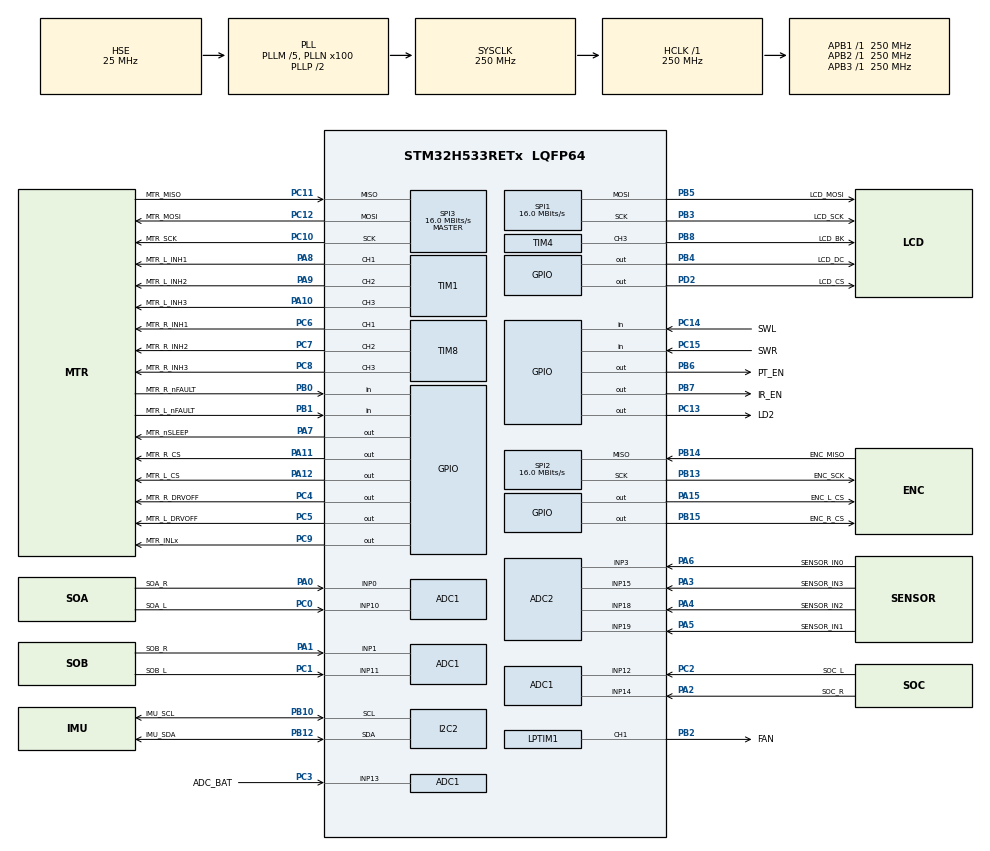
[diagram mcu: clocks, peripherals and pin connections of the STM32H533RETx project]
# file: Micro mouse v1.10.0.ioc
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ADC1.Channel-7\#ChannelRegularConversion=ADC_CHANNEL_0
ADC1.MonitoredBy-7\#ChannelRegularConversion=__NULL
ADC1.NbrOfConversionFlag=1
ADC1.OffsetNumber-7\#ChannelRegularConversion=ADC_OFFSET_NONE
ADC1.Rank-7\#ChannelRegularConversion=1
ADC1.SamplingTime-7\#ChannelRegularConversion=ADC_SAMPLETIME_2CYCLES_5
ADC1.master=1
ADC2.Channel-4\#ChannelRegularConversion=ADC_CHANNEL_3
ADC2.MonitoredBy-4\#ChannelRegularConversion=__NULL
ADC2.NbrOfConversionFlag=1
ADC2.OffsetNumber-4\#ChannelRegularConversion=ADC_OFFSET_NONE
ADC2.Rank-4\#ChannelRegularConversion=1
ADC2.SamplingTime-4\#ChannelRegularConversion=ADC_SAMPLETIME_2CYCLES_5
BOOTPATH.BootPathName=LEGACY
BOOTPATH.UserSelectedBootPath=LEGACY
CORTEX_M33_NS.userName=CORTEX_M33
Mcu.Family=STM32H5
Mcu.Name=STM32H533RETx
Mcu.Package=LQFP64
NVIC.PriorityGroup=NVIC_PRIORITYGROUP_4
NVIC.TIM15_IRQn=true\:0\:0\:false\:false\:true\:true\:true\:true
PA0.GPIO_Label=SOA_R
PA0.Signal=ADCx_INP0
PA1.GPIO_Label=SOB_R
PA1.Signal=ADCx_INP1
PA10.GPIO_Label=MTR_L_INH3
PA10.Signal=S_TIM1_CH3
PA11.GPIO_Label=MTR_R_CS
PA11.Signal=GPIO_Output
PA12.GPIO_Label=MTR_L_CS
PA12.Signal=GPIO_Output
PA13(JTMS/SWDIO).Mode=Serial_Wire
PA13(JTMS/SWDIO).Signal=DEBUG_JTMS-SWDIO
PA14(JTCK/SWCLK).Mode=Serial_Wire
PA14(JTCK/SWCLK).Signal=DEBUG_JTCK-SWCLK
PA15(JTDI).GPIO_Label=ENC_L_CS
PA15(JTDI).Signal=GPIO_Output
PA2.GPIO_Label=SOC_R
PA2.Signal=ADCx_INP14
PA3.GPIO_Label=SENSOR_IN3
PA3.Signal=ADCx_INP15
PA4.GPIO_Label=SENSOR_IN2
PA4.Signal=ADCx_INP18
PA5.GPIO_Label=SENSOR_IN1
PA5.Signal=ADCx_INP19
PA6.GPIO_Label=SENSOR_IN0
PA6.Signal=ADCx_INP3
PA7.GPIO_Label=MTR_nSLEEP
PA7.Signal=GPIO_Output
PA8.GPIO_Label=MTR_L_INH1
PA8.Signal=S_TIM1_CH1
PA9.GPIO_Label=MTR_L_INH2
PA9.Signal=S_TIM1_CH2
PB0.GPIO_Label=MTR_R_nFAULT
PB0.Signal=GPIO_Input
PB1.GPIO_Label=MTR_L_nFAULT
PB1.Signal=GPIO_Input
PB10.GPIO_Label=IMU_SCL
PB10.GPIO_Speed=GPIO_SPEED_FREQ_VERY_HIGH
PB10.Mode=I2C
PB10.Signal=I2C2_SCL
PB12.GPIO_Label=IMU_SDA
PB12.GPIO_Speed=GPIO_SPEED_FREQ_VERY_HIGH
PB12.Mode=I2C
PB12.Signal=I2C2_SDA
PB13.GPIO_Label=ENC_SCK
PB13.Mode=RX_Only_Simplex_Unidirect_Master
PB13.Signal=SPI2_SCK
PB14.GPIO_Label=ENC_MISO
PB14.Mode=RX_Only_Simplex_Unidirect_Master
PB14.Signal=SPI2_MISO
PB15.GPIO_Label=ENC_R_CS
PB15.Signal=GPIO_Output
PB2.GPIO_Label=FAN
PB2.Signal=S_LPTIM1_CH1
PB3(JTDO/TRACESWO).GPIO_Label=LCD_SCK
PB3(JTDO/TRACESWO).Mode=TX_Only_Simplex_Unidirect_Master
PB3(JTDO/TRACESWO).Signal=SPI1_SCK
PB4(NJTRST).GPIO_Label=LCD_DC
PB4(NJTRST).Signal=GPIO_Output
PB5.GPIO_Label=LCD_MOSI
PB5.Mode=TX_Only_Simplex_Unidirect_Master
PB5.Signal=SPI1_MOSI
PB6.GPIO_Label=PT_EN
PB6.Signal=GPIO_Output
PB7.GPIO_Label=IR_EN
PB7.Signal=GPIO_Output
PB8.GPIO_Label=LCD_BK
PB8.Signal=S_TIM4_CH3
PC0.GPIO_Label=SOA_L
PC0.Signal=ADCx_INP10
PC1.GPIO_Label=SOB_L
PC1.Signal=ADCx_INP11
PC10.GPIO_Label=MTR_SCK
PC10.Mode=Full_Duplex_Master
PC10.Signal=SPI3_SCK
PC11.GPIO_Label=MTR_MISO
PC11.Mode=Full_Duplex_Master
PC11.Signal=SPI3_MISO
PC12.GPIO_Label=MTR_MOSI
PC12.Mode=Full_Duplex_Master
PC12.Signal=SPI3_MOSI
PC13.GPIO_Label=LD2
PC13.Signal=GPIO_Output
PC14-OSC32_IN(OSC32_IN).GPIO_Label=SWL
PC14-OSC32_IN(OSC32_IN).Signal=GPIO_Input
PC15-OSC32_OUT(OSC32_OUT).GPIO_Label=SWR
PC15-OSC32_OUT(OSC32_OUT).Signal=GPIO_Input
PC2.GPIO_Label=SOC_L
PC2.Signal=ADCx_INP12
PC3.GPIO_Label=ADC_BAT
PC3.Signal=ADCx_INP13
PC4.GPIO_Label=MTR_R_DRVOFF
PC4.Signal=GPIO_Output
PC5.GPIO_Label=MTR_L_DRVOFF
PC5.Signal=GPIO_Output
PC6.GPIO_Label=MTR_R_INH1
PC6.Signal=S_TIM8_CH1
PC7.GPIO_Label=MTR_R_INH2
PC7.Signal=S_TIM8_CH2
PC8.GPIO_Label=MTR_R_INH3
PC8.Signal=S_TIM8_CH3
PC9.GPIO_Label=MTR_INLx
PC9.Signal=GPIO_Output
PD2.GPIO_Label=LCD_CS
PD2.Signal=GPIO_Output
PH0-OSC_IN(PH0).Mode=HSE-External-Oscillator
PH0-OSC_IN(PH0).Signal=RCC_OSC_IN
PH1-OSC_OUT(PH1).Mode=HSE-External-Oscillator
PH1-OSC_OUT(PH1).Signal=RCC_OSC_OUT
ProjectManager.HeapSize=0x200
ProjectManager.StackSize=0x400
ProjectManager.TargetToolchain=STM32CubeIDE
RCC.ADCCLockSelection=RCC_ADCDACCLKSOURCE_PLL2R
RCC.ADCFreq_Value=64000000
RCC.AHBFreq_Value=250000000
RCC.APB1Freq_Value=250000000
RCC.APB1TimFreq_Value=250000000
RCC.APB2Freq_Value=250000000
RCC.APB2TimFreq_Value=250000000
RCC.APB3Freq_Value=250000000
RCC.CSI_VALUE=4000000
RCC.CortexFreq_Value=250000000
RCC.EPOD_VALUE=25000000
RCC.HCLKFreq_Value=250000000
RCC.HSE_VALUE=25000000
RCC.HSI48_VALUE=48000000
RCC.HSI_VALUE=64000000
RCC.LPTIM2CLockSelection=RCC_LPTIM2CLKSOURCE_PLL2P
RCC.LSE_VALUE=32768
RCC.LSIRC_VALUE=32000
RCC.PLL1Q=3
RCC.PLL2M=5
RCC.PLL2N=64
RCC.PLL2R=5
RCC.PLL2Source=RCC_PLL2_SOURCE_HSE
RCC.PLLFRACN=0
RCC.PLLM=5
RCC.PLLN=100
RCC.PLLSourceVirtual=RCC_PLL1_SOURCE_HSE
RCC.SPI1CLockSelection=RCC_SPI1CLKSOURCE_CLKP
RCC.SPI2CLockSelection=RCC_SPI2CLKSOURCE_CLKP
RCC.SPI3CLockSelection=RCC_SPI3CLKSOURCE_CLKP
RCC.SYSCLKFreq_VALUE=250000000
RCC.SYSCLKSource=RCC_SYSCLKSOURCE_PLLCLK
RCC.USBFreq_Value=48000000
RCC.VCOOutputFreq_Value=500000000
SH.ADCx_INP0.0=ADC1_INP0,IN0-Single-Ended
SH.ADCx_INP1.0=ADC1_INP1,IN1-Single-Ended
SH.ADCx_INP10.0=ADC1_INP10,IN10-Single-Ended
SH.ADCx_INP11.0=ADC1_INP11,IN11-Single-Ended
SH.ADCx_INP12.0=ADC1_INP12,IN12-Single-Ended
SH.ADCx_INP13.0=ADC1_INP13,IN13-Single-Ended
SH.ADCx_INP14.0=ADC1_INP14,IN14-Single-Ended
SH.ADCx_INP15.0=ADC2_INP15,IN15-Single-Ended
SH.ADCx_INP18.0=ADC2_INP18,IN18-Single-Ended
SH.ADCx_INP19.0=ADC2_INP19,IN19-Single-Ended
SH.ADCx_INP3.0=ADC2_INP3,IN3-Single-Ended
SH.S_LPTIM1_CH1.0=LPTIM1_CH1,OutputIO_CH1
SH.S_TIM1_CH1.0=TIM1_CH1,PWM Generation1 CH1
SH.S_TIM1_CH2.0=TIM1_CH2,PWM Generation2 CH2
SH.S_TIM1_CH3.0=TIM1_CH3,PWM Generation3 CH3
SH.S_TIM4_CH3.0=TIM4_CH3,PWM Generation3 CH3
SH.S_TIM8_CH1.0=TIM8_CH1,PWM Generation1 CH1
SH.S_TIM8_CH2.0=TIM8_CH2,PWM Generation2 CH2
SH.S_TIM8_CH3.0=TIM8_CH3,PWM Generation3 CH3
SPI1.CalculateBaudRate=16.0 MBits/s
SPI1.DataSize=SPI_DATASIZE_8BIT
SPI1.Direction=SPI_DIRECTION_2LINES_TXONLY
SPI1.Mode=SPI_MODE_MASTER
SPI1.VirtualType=VM_MASTER
SPI2.CalculateBaudRate=16.0 MBits/s
SPI2.Direction=SPI_DIRECTION_2LINES_RXONLY
SPI2.Mode=SPI_MODE_MASTER
SPI2.VirtualType=VM_MASTER
SPI3.CalculateBaudRate=16.0 MBits/s
SPI3.Direction=SPI_DIRECTION_2LINES
SPI3.Mode=SPI_MODE_MASTER
SPI3.VirtualType=VM_MASTER
TIM1.Channel-PWM\ Generation1\ CH1=TIM_CHANNEL_1
TIM1.Channel-PWM\ Generation2\ CH2=TIM_CHANNEL_2
TIM1.Channel-PWM\ Generation3\ CH3=TIM_CHANNEL_3
TIM15.Channel-PWM\ Generation1\ No\ Output=TIM_CHANNEL_1
TIM15.PeriodNoDither=0
TIM15.Prescaler=250-1
TIM15.TIM_MasterOutputTrigger=TIM_TRGO_OC1REF
TIM15.TIM_MasterSlaveMode=TIM_MASTERSLAVEMODE_DISABLE
TIM4.Channel-PWM\ Generation3\ CH3=TIM_CHANNEL_3
TIM4.PeriodNoDither=1000-1
TIM4.Prescaler=250
TIM8.Channel-PWM\ Generation1\ CH1=TIM_CHANNEL_1
TIM8.Channel-PWM\ Generation2\ CH2=TIM_CHANNEL_2
TIM8.Channel-PWM\ Generation3\ CH3=TIM_CHANNEL_3
VP_BOOTPATH_VS_BOOTPATH.Mode=BP_Activate
VP_CORTEX_M33_NS_VS_Hclk.Mode=Hclk_Mode
VP_FLASH_SIG_Activate_FlashIP.Mode=Activate_FlashIP
VP_GPDMA1_VS_GPDMACH0.Mode=SIMPLEREQUEST_GPDMACH0
VP_GPDMA1_VS_GPDMACH1.Mode=SIMPLEREQUEST_GPDMACH1
VP_ICACHE_VS_ENABLE_ICACHE_MEMORY.Mode=Memoryregions
VP_ICACHE_VS_ICACHE.Mode=DefaultMode
VP_LPTIM1_VS_CH1.Mode=Channel_1_Active
VP_LPTIM1_VS_LPTIM_counterModeInternalClock.Mode=Counts__internal_clock_event_00
VP_MEMORYMAP_VS_MEMORYMAP.Mode=CurAppReg
VP_PWR_VS_LPOM.Mode=PowerOptimisation
VP_PWR_VS_SECSignals.Mode=Security/Privilege
VP_TIM12_VS_ClockSourceINT.Mode=Internal
VP_TIM15_VS_ClockSourceINT.Mode=Internal
VP_TIM15_VS_no_output1.Mode=PWM Generation1 No Output
VP_TIM2_VS_ClockSourceINT.Mode=Internal
VP_TIM3_VS_ClockSourceINT.Mode=Internal
VP_TIM4_VS_ClockSourceINT.Mode=Internal
VP_TIM5_VS_ClockSourceINT.Mode=Internal
VP_TIM6_VS_ClockSourceINT.Mode=Enable_Timer
VP_TIM7_VS_ClockSourceINT.Mode=Enable_Timer
board=custom

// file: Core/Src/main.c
/* USER CODE BEGIN Header */
/**
 ******************************************************************************
 * @file           : main.c
 * @brief          : Main program body
 ******************************************************************************
 * @attention
 *
 * Copyright (c) 2026 STMicroelectronics.
 * All rights reserved.
 *
 * This software is licensed under terms that can be found in the LICENSE file
 * in the root directory of this software component.
 * If no LICENSE file comes with this software, it is provided AS-IS.
 *
 ******************************************************************************
 */
/* USER CODE END Header */
#include "main.h"
#include "adc.h"
#include "flash.h"
#include "gpdma.h"
#include "i2c.h"
#include "icache.h"
#include "lptim.h"
#include "spi.h"
#include "tim.h"
#include "gpio.h"

/* USER CODE BEGIN Includes */
#include "init.h"
#include "menu.h"
#include "error.h"
#include "sensor.h"
#include "vl53l4cx.h"
#include "motor.h"
/* USER CODE END Includes */

void SystemClock_Config(void);
void PeriphCommonClock_Config(void);

/* USER CODE BEGIN 0 */
void delay_us(uint32_t us) {
	// 현재 사이클 카운트 저장
	uint32_t startTick = DWT->CYCCNT;

	// 필요한 사이클 수 계산 (us * (HCLK / 1,000,000))
	// SystemCoreClock은 현재 MCU의 주파수(Hz)를 담고 있습니다.
	uint32_t delayTicks = us * (SystemCoreClock / 1000000);

	// 목표 사이클에 도달할 때까지 대기
	while ((DWT->CYCCNT - startTick) < delayTicks)
		;
}
/* USER CODE END 0 */

int main(void)
{

  /* MCU Configuration--------------------------------------------------------*/

  /* Reset of all peripherals, Initializes the Flash interface and the Systick. */
  HAL_Init();

  /* Configure the system clock */
  SystemClock_Config();

  /* Configure the peripherals common clocks */
  PeriphCommonClock_Config();

  /* Initialize all configured peripherals */
  MX_GPIO_Init();
  MX_GPDMA1_Init();
  MX_ADC1_Init();
  MX_ADC2_Init();
  MX_FLASH_Init();
  MX_I2C2_Init();
  MX_ICACHE_Init();
  MX_LPTIM1_Init();
  MX_SPI1_Init();
  MX_SPI2_Init();
  MX_TIM1_Init();
  MX_TIM4_Init();
  MX_TIM8_Init();
  MX_TIM2_Init();
  MX_TIM3_Init();
  MX_TIM5_Init();
  MX_TIM6_Init();
  MX_TIM7_Init();
  MX_TIM15_Init();
  MX_TIM12_Init();
  MX_SPI3_Init();
  /* USER CODE BEGIN 2 */
	TRIG_ON;

	MX_User_Init();
	TRIG_OFF;
	LCD_Printf(0, 0, ST7789_WHITE, ST7789_BLACK, "Hello world!");
	HAL_Delay(1000);
//	ST7789_FillScreen(ST7789_BLACK);
	HAL_GPIO_WritePin(MTR_L_DRVOFF_GPIO_Port, MTR_L_DRVOFF_Pin, GPIO_PIN_RESET);
	HAL_GPIO_WritePin(MTR_R_DRVOFF_GPIO_Port, MTR_R_DRVOFF_Pin, GPIO_PIN_RESET);
	HAL_Delay(10);
  /* USER CODE END 2 */

  /* Infinite loop */
  /* USER CODE BEGIN WHILE */
	Sensor_Start();
//	IMU_Start();
//	HAL_TIM_Base_Start_IT(&htim3);
//	FOC_Start(&focL);
	while (1) {
    /* USER CODE END WHILE */

    /* USER CODE BEGIN 3 */
		Show_IR();
//		Simple_6_step_Control(&focL);
//		Show_Current();
//		TRIG_TOGGLE;
//		HAL_Delay(100);
	}
  /* USER CODE END 3 */
}

void SystemClock_Config(void)
{
  RCC_OscInitTypeDef RCC_OscInitStruct = {0};
  RCC_ClkInitTypeDef RCC_ClkInitStruct = {0};

  /** Configure the main internal regulator output voltage
  */
  __HAL_PWR_VOLTAGESCALING_CONFIG(PWR_REGULATOR_VOLTAGE_SCALE0);

  while(!__HAL_PWR_GET_FLAG(PWR_FLAG_VOSRDY)) {}

  /** Initializes the RCC Oscillators according to the specified parameters
  * in the RCC_OscInitTypeDef structure.
  */
  RCC_OscInitStruct.OscillatorType = RCC_OSCILLATORTYPE_HSI|RCC_OSCILLATORTYPE_HSE;
  RCC_OscInitStruct.HSEState = RCC_HSE_ON;
  RCC_OscInitStruct.HSIState = RCC_HSI_ON;
  RCC_OscInitStruct.HSIDiv = RCC_HSI_DIV2;
  RCC_OscInitStruct.HSICalibrationValue = RCC_HSICALIBRATION_DEFAULT;
  RCC_OscInitStruct.PLL.PLLState = RCC_PLL_ON;
  RCC_OscInitStruct.PLL.PLLSource = RCC_PLL1_SOURCE_HSE;
  RCC_OscInitStruct.PLL.PLLM = 5;
  RCC_OscInitStruct.PLL.PLLN = 100;
  RCC_OscInitStruct.PLL.PLLP = 2;
  RCC_OscInitStruct.PLL.PLLQ = 3;
  RCC_OscInitStruct.PLL.PLLR = 2;
  RCC_OscInitStruct.PLL.PLLRGE = RCC_PLL1_VCIRANGE_2;
  RCC_OscInitStruct.PLL.PLLVCOSEL = RCC_PLL1_VCORANGE_WIDE;
  RCC_OscInitStruct.PLL.PLLFRACN = 0;
  if (HAL_RCC_OscConfig(&RCC_OscInitStruct) != HAL_OK)
  {
    Error_Handler();
  }

  /** Initializes the CPU, AHB and APB buses clocks
  */
  RCC_ClkInitStruct.ClockType = RCC_CLOCKTYPE_HCLK|RCC_CLOCKTYPE_SYSCLK
                              |RCC_CLOCKTYPE_PCLK1|RCC_CLOCKTYPE_PCLK2
                              |RCC_CLOCKTYPE_PCLK3;
  RCC_ClkInitStruct.SYSCLKSource = RCC_SYSCLKSOURCE_PLLCLK;
  RCC_ClkInitStruct.AHBCLKDivider = RCC_SYSCLK_DIV1;
  RCC_ClkInitStruct.APB1CLKDivider = RCC_HCLK_DIV1;
  RCC_ClkInitStruct.APB2CLKDivider = RCC_HCLK_DIV1;
  RCC_ClkInitStruct.APB3CLKDivider = RCC_HCLK_DIV1;

  if (HAL_RCC_ClockConfig(&RCC_ClkInitStruct, FLASH_LATENCY_5) != HAL_OK)
  {
    Error_Handler();
  }

  /** Configure the programming delay
  */
  __HAL_FLASH_SET_PROGRAM_DELAY(FLASH_PROGRAMMING_DELAY_2);
}

void PeriphCommonClock_Config(void)
{
  RCC_PeriphCLKInitTypeDef PeriphClkInitStruct = {0};

  /** Initializes the peripherals clock
  */
  PeriphClkInitStruct.PeriphClockSelection = RCC_PERIPHCLK_CKPER|RCC_PERIPHCLK_ADCDAC;
  PeriphClkInitStruct.PLL2.PLL2Source = RCC_PLL2_SOURCE_HSE;
  PeriphClkInitStruct.PLL2.PLL2M = 5;
  PeriphClkInitStruct.PLL2.PLL2N = 64;
  PeriphClkInitStruct.PLL2.PLL2P = 2;
  PeriphClkInitStruct.PLL2.PLL2Q = 2;
  PeriphClkInitStruct.PLL2.PLL2R = 5;
  PeriphClkInitStruct.PLL2.PLL2RGE = RCC_PLL2_VCIRANGE_2;
  PeriphClkInitStruct.PLL2.PLL2VCOSEL = RCC_PLL2_VCORANGE_WIDE;
  PeriphClkInitStruct.PLL2.PLL2FRACN = 0;
  PeriphClkInitStruct.PLL2.PLL2ClockOut = RCC_PLL2_DIVR;
  PeriphClkInitStruct.CkperClockSelection = RCC_CLKPSOURCE_HSI;
  PeriphClkInitStruct.AdcDacClockSelection = RCC_ADCDACCLKSOURCE_PLL2R;
  if (HAL_RCCEx_PeriphCLKConfig(&PeriphClkInitStruct) != HAL_OK)
  {
    Error_Handler();
  }
}

void Error_Handler(void)
{
  /* USER CODE BEGIN Error_Handler_Debug */
	/* User can add his own implementation to report the HAL error return state */
//	__disable_irq();
	ST7789_FillScreen(ST7789_RED);
	LCD_Printf(0, 0, ST7789_BLACK, ST7789_RED, error_log);
	while (1) {
		HAL_GPIO_TogglePin(LD2_GPIO_Port, LD2_Pin);
		HAL_Delay(100);
	}
  /* USER CODE END Error_Handler_Debug */
}
